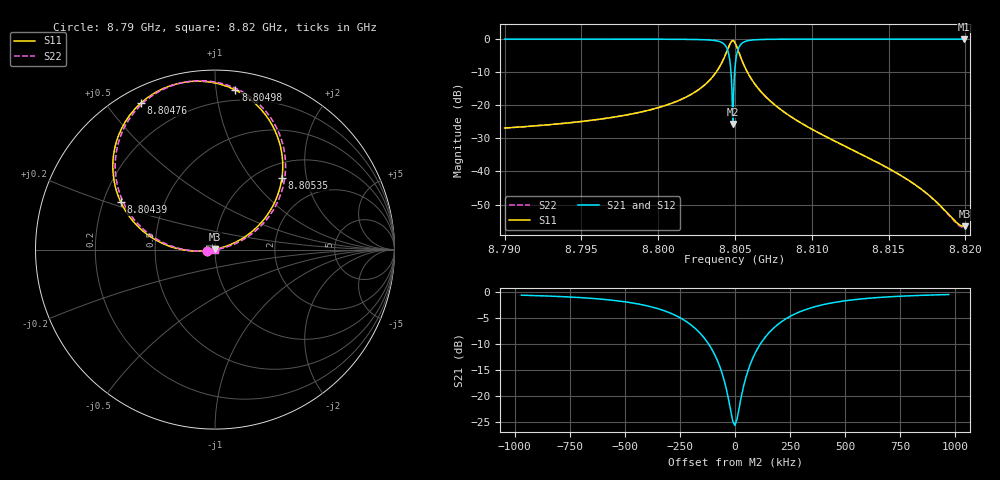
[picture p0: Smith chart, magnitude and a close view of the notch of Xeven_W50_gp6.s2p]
! Sonnet Data File
! From: emgraph Version : 16.52
! From Project: Qubit_Test_beforeopt
! Data is De-embedded
! Data File Written: 10/18/2017 16:57:22
!< HDATE 10/18/2017 09:03:38
!< MDATE 10/18/2017 09:03:38
!< PARAMS
!< Lj = 11.0
!< Gap = 6.0
!< Pwid = 2000.0
!< Airgap = 30.0
!< Width = 50.0
!< END PARAMS
# GHZ S MA R 51.80000
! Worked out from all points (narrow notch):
!   3001 points, 8.79 GHz to 8.82 GHz, reference 51.8 ohm
!   highest |S21| = 0.00 dB at 8.81992 GHz (marker M1); lowest = -25.7 dB at 8.80486 GHz (marker M2)
!   notch at M2: 25.7 dB deep, 163 kHz wide at half that depth
!   lowest |S11| = -56.6 dB at 8.81996 GHz (marker M3), VSWR 1.00, Z = 51.8 + j0.15 ohm
!   |S11| at or under -10 dB: start of sweep to 8.803772 GHz; 8.805807 GHz to end of sweep
!   |S22| runs from -57.0 to -0.5 dB; largest |S21 - S12| = 0
!   S11 on the Smith chart (normalised r, x): 8.79 GHz: 0.91, -0.01; 8.80439 GHz: 0.27, +0.22; 8.80476 GHz: 0.06, +0.61; 8.80498 GHz: 0.12, +1.13; 8.80535 GHz: 1.27, +1.44; 8.82 GHz: 1.00, +0.00
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8.79  0.0453 -172.8  0.9989 -81.8  0.9989 -81.8  0.0453 -170.9
!< P1 F=8.79 Eeff=(6.43963342 -3.1364e-5) Z0=(50.401348 1.04894e-4) R=0.0 C=0.0
!< P2 F=8.79 Eeff=(6.43963342 -3.1364e-5) Z0=(50.401348 1.04894e-4) R=0.0 C=0.0
8.795  0.05685 -173.2  0.9983 -82.5  0.9983 -82.5  0.05684 -172.0
8.8  0.09197 -174.8  0.9955 -84.6  0.9955 -84.6  0.09197 -174.7
8.80285  0.1879 179.8  0.9807 -90.2  0.9807 -90.2  0.1878 178.9
8.80391  0.3535 169.6  0.929 -100.0  0.929 -100.0  0.3534 168.2
8.80439  0.5877 153.3  0.7869 -115.3  0.7869 -115.3  0.5876 151.7
8.80461  0.7841 135.8  0.5659 -130.8  0.5659 -130.8  0.784 134.2
8.80476  0.9154 116.8  0.2682 -143.5  0.2682 -143.5  0.9152 115.1
8.80486  0.9483 101.3  0.05194 -74.9  0.05194 -74.9  0.9481 99.5
8.80498  0.8966 82.7  0.3272 -17.0  0.3272 -17.0  0.8964 80.9
8.805  0.8801 79.8  0.3734 -18.6  0.3734 -18.6  0.8799 78.0
8.80513  0.7497 64.0  0.6119 -30.9  0.6119 -30.9  0.7496 62.1
8.80535  0.5457 46.9  0.817 -46.3  0.817 -46.3  0.5456 44.9
8.80573  0.3421 33.0  0.932 -59.4  0.932 -59.4  0.3421 30.8
8.80636  0.1991 24.2  0.9773 -67.9  0.9773 -67.9  0.199 21.6
8.8078  0.09252 18.1  0.995 -74.1  0.995 -74.1  0.0925 14.6
8.81  0.04355 16.2  0.9988 -76.9  0.9988 -76.9  0.04353 10.6
8.815  0.01111 19.9  0.9999 -78.8  0.9999 -78.8  0.01109 3.2
8.81728  0.005078 28.7  0.9999 -79.2  0.9999 -79.2  0.005054 -6.2
8.81992  0.001476 98.9  1 -79.5  1 -79.5  0.001416 -77.8
8.81996  0.001474 101.2  1 -79.5  1 -79.5  0.001415 -80.2
8.82  0.001475 103.6  1 -79.5  1 -79.5  0.001416 -82.6
